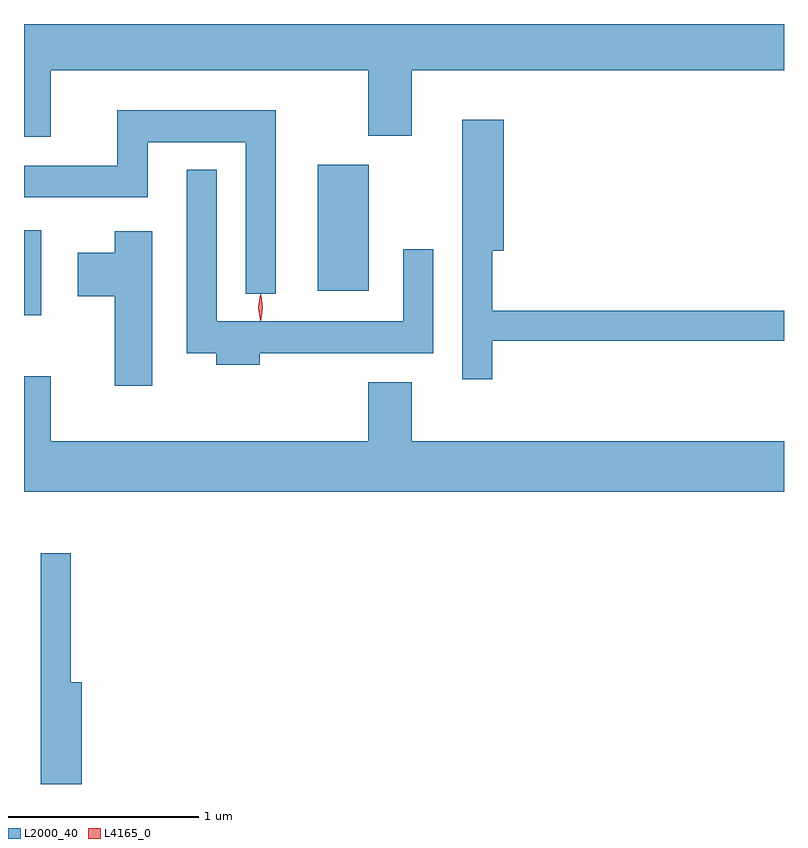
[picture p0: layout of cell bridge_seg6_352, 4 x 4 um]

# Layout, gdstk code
import gdstk
lib = gdstk.Library(unit=1e-6, precision=1e-09)
def R(c, l, rs):  # rectangles x0, y0, x1, y1
    for r in rs: c.add(gdstk.rectangle(r[:2], r[2:], *l))
def P(c, l, *ps):  # polygons
    for p in ps: c.add(gdstk.Polygon(p, *l))
L2000_40 = (2000, 40)
L4165_0 = (4165, 0)

bridge_seg6_352 = lib.new_cell('bridge_seg6_352')
R(bridge_seg6_352, L2000_40, [(1327.779,1562.066,1327.869,1562.514), (1329.326,1562.196,1329.594,1562.859)])
P(bridge_seg6_352, L2000_40, [(1327.919,1563.356),(1329.591,1563.356),(1329.591,1563.011),(1329.819,1563.011),(1329.819,1563.356),(1331.779,1563.356),(1331.779,1563.599),(1327.779,1563.599),(1327.779,1563.006),(1327.919,1563.006)],
  [(1329.104,1563.144),(1328.271,1563.144),(1328.271,1562.854),(1327.779,1562.854),(1327.779,1562.686),(1328.429,1562.686),(1328.429,1562.976),(1328.946,1562.976),(1328.946,1562.178),(1329.104,1562.178)],
  [(1330.244,1561.931),(1331.779,1561.931),(1331.779,1562.089),(1330.244,1562.089),(1330.244,1562.406),(1330.304,1562.406),(1330.304,1563.094),(1330.086,1563.094),(1330.086,1561.728),(1330.244,1561.728)],
  [(1329.019,1561.866),(1329.934,1561.866),(1329.934,1562.413),(1329.776,1562.413),(1329.776,1562.034),(1328.794,1562.034),(1328.794,1562.833),(1328.636,1562.833),(1328.636,1561.866),(1328.791,1561.866),(1328.791,1561.806),(1329.019,1561.806)],
  [(1328.454,1562.509),(1328.256,1562.509),(1328.256,1562.394),(1328.061,1562.394),(1328.061,1562.166),(1328.256,1562.166),(1328.256,1561.696),(1328.454,1561.696)],
  [(1331.779,1561.404),(1329.819,1561.404),(1329.819,1561.714),(1329.591,1561.714),(1329.591,1561.404),(1327.919,1561.404),(1327.919,1561.744),(1327.779,1561.744),(1327.779,1561.136),(1331.779,1561.136)],
  [(1328.084,1560.134),(1328.024,1560.134),(1328.024,1560.813),(1327.866,1560.813),(1327.866,1559.599),(1328.084,1559.599)])
P(bridge_seg6_352, L4165_0, [(1329.023,1562.037),(1329.022,1562.038),(1329.013,1562.107),(1329.022,1562.176),(1329.023,1562.176),(1329.023,1562.176),(1329.033,1562.107),(1329.023,1562.038)],
  [(1329.026,1562.04),(1329.026,1562.04),(1329.016,1562.106),(1329.026,1562.172),(1329.026,1562.173),(1329.027,1562.172),(1329.036,1562.106),(1329.027,1562.04)])

lib.write_gds('bridge_seg6_352.gds')
